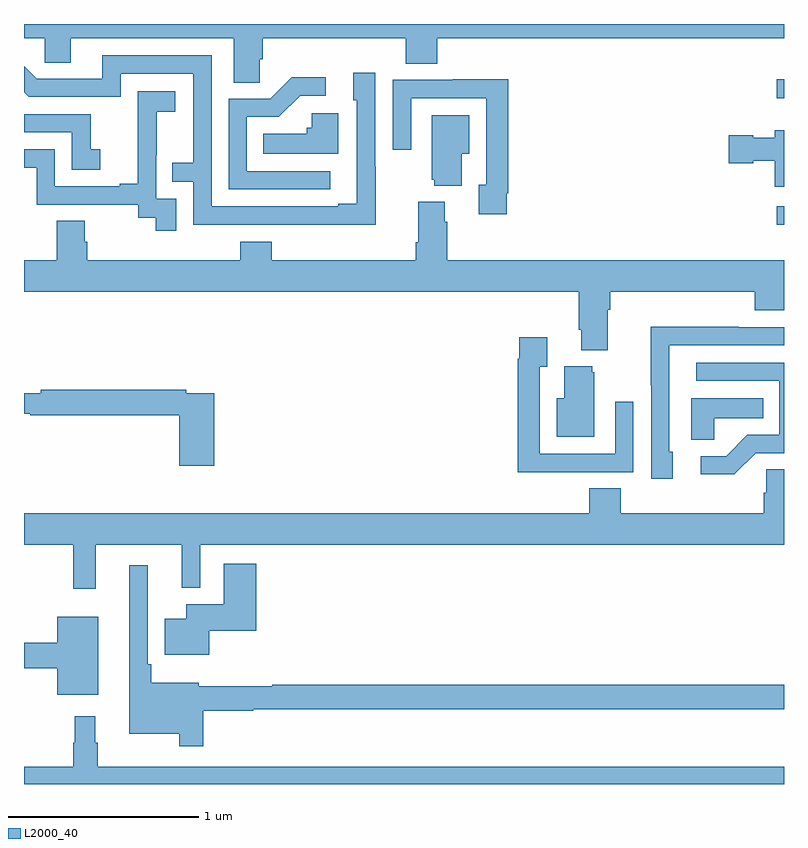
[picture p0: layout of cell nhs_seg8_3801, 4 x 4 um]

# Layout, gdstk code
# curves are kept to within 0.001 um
import gdstk
lib = gdstk.Library(unit=1e-6, precision=1e-09)
def R(c, l, rs):  # rectangles x0, y0, x1, y1
    for r in rs: c.add(gdstk.rectangle(r[:2], r[2:], *l))
def P(c, l, *ps):  # polygons
    for p in ps: c.add(gdstk.Polygon(p, *l))
L2000_40 = (2000, 40)

nhs_seg8_3801 = lib.new_cell('nhs_seg8_3801')
R(nhs_seg8_3801, L2000_40, [(348.963,1124.843,349,1124.94), (348.963,1125.509,349,1125.608)])
P(nhs_seg8_3801, L2000_40, [(346.242,1125.715),(346.256,1125.715),(346.256,1125.824),(347.009,1125.824),(347.009,1125.691),(347.174,1125.691),(347.174,1125.824),(349,1125.824),(349,1125.9),(345,1125.9),(345,1125.824),(345.108,1125.824),(345.108,1125.697),(345.247,1125.697),(345.247,1125.824),(346.103,1125.824),(346.103,1125.592),(346.242,1125.592)],
  [(346.851,1125.149),(346.848,1125.149),(346.848,1125.643),(346.733,1125.643),(346.733,1125.498),(346.752,1125.498),(346.752,1124.953),(346.655,1124.953),(346.655,1124.94),(345.987,1124.94),(345.987,1125.735),(345.413,1125.735),(345.413,1125.612),(345.066,1125.612),(345,1125.678),(345,1125.54),(345.024,1125.516),(345.51,1125.516),(345.51,1125.639),(345.891,1125.639),(345.891,1125.17),(345.781,1125.17),(345.781,1125.069),(345.891,1125.069),(345.891,1124.844),(346.851,1124.843)],
  [(346.612,1125.126),(346.173,1125.126),(346.173,1125.411),(346.342,1125.411),(346.453,1125.522),(346.588,1125.522),(346.588,1125.62),(346.409,1125.62),(346.296,1125.507),(346.077,1125.507),(346.077,1125.03),(346.612,1125.03)],
  [(347.542,1125.01),(347.549,1125.01),(347.549,1125.608),(347.257,1125.608),(347.257,1125.606),(346.941,1125.606),(346.941,1125.237),(347.037,1125.237),(347.037,1125.51),(347.433,1125.51),(347.433,1125.054),(347.393,1125.054),(347.393,1124.898),(347.542,1124.898)],
  [(345.801,1124.979),(345.696,1124.979),(345.696,1125.209),(345.698,1125.209),(345.698,1125.437),(345.796,1125.437),(345.796,1125.547),(345.598,1125.547),(345.598,1125.341),(345.599,1125.341),(345.599,1125.058),(345.503,1125.058),(345.503,1125.045),(345.162,1125.045),(345.162,1125.24),(345,1125.24),(345,1125.144),(345.066,1125.144),(345.066,1124.949),(345.6,1124.949),(345.6,1124.881),(345.693,1124.881),(345.693,1124.811),(345.801,1124.811)],
  [(346.654,1125.43),(346.515,1125.43),(346.515,1125.354),(346.489,1125.354),(346.489,1125.322),(346.258,1125.322),(346.258,1125.218),(346.654,1125.218)],
  [(345.4,1125.241),(345.351,1125.241),(345.351,1125.426),(345,1125.426),(345,1125.33),(345.252,1125.33),(345.252,1125.132),(345.4,1125.132)],
  [(347.305,1125.218),(347.344,1125.218),(347.344,1125.421),(347.147,1125.421),(347.147,1125.081),(347.159,1125.081),(347.159,1125.05),(347.305,1125.05)],
  [(349,1125.34),(348.95,1125.34),(348.95,1125.301),(348.837,1125.301),(348.837,1125.314),(348.708,1125.314),(348.708,1125.167),(348.837,1125.167),(348.837,1125.179),(348.95,1125.179),(348.95,1125.044),(349,1125.044)],
  [(348.073,1124.396),(348.086,1124.396),(348.086,1124.492),(348.845,1124.492),(348.845,1124.393),(349,1124.393),(349,1124.656),(347.228,1124.656),(347.228,1124.858),(347.215,1124.858),(347.215,1124.965),(347.075,1124.965),(347.075,1124.752),(347.063,1124.752),(347.063,1124.656),(346.304,1124.656),(346.304,1124.755),(346.139,1124.755),(346.139,1124.656),(345.332,1124.656),(345.332,1124.754),(345.319,1124.754),(345.319,1124.864),(345.172,1124.864),(345.172,1124.656),(345,1124.656),(345,1124.492),(347.921,1124.492),(347.921,1124.29),(347.933,1124.29),(347.933,1124.183),(348.073,1124.183)],
  [(348.415,1123.65),(348.396,1123.65),(348.396,1124.208),(349,1124.208),(349,1124.304),(348.761,1124.304),(348.761,1124.306),(348.298,1124.306),(348.298,1123.999),(348.3,1123.999),(348.3,1123.506),(348.415,1123.506)],
  [(347.891,1123.542),(348.207,1123.542),(348.207,1123.912),(348.111,1123.912),(348.111,1123.638),(347.715,1123.638),(347.715,1124.095),(347.755,1124.095),(347.755,1124.251),(347.607,1124.251),(347.607,1124.138),(347.599,1124.138),(347.599,1123.541),(347.891,1123.541)],
  [(348.852,1123.641),(349,1123.641),(349,1124.118),(348.537,1124.118),(348.537,1124.022),(348.975,1124.022),(348.975,1123.737),(348.806,1123.737),(348.695,1123.626),(348.561,1123.626),(348.561,1123.529),(348.739,1123.529)],
  [(348.001,1124.067),(347.99,1124.067),(347.99,1124.098),(347.843,1124.098),(347.843,1123.93),(347.804,1123.93),(347.804,1123.727),(348.001,1123.727)],
  [(346.001,1123.956),(345.854,1123.956),(345.854,1123.976),(345.088,1123.976),(345.088,1123.957),(345,1123.957),(345,1123.848),(345.034,1123.848),(345.034,1123.84),(345.818,1123.84),(345.818,1123.575),(346.001,1123.575)],
  [(348.633,1123.826),(348.89,1123.826),(348.89,1123.93),(348.512,1123.93),(348.512,1123.711),(348.633,1123.711)],
  [(345.377,1123.16),(345.83,1123.16),(345.83,1122.932),(345.927,1122.932),(345.927,1123.16),(349,1123.16),(349,1123.556),(348.906,1123.556),(348.906,1123.433),(348.893,1123.433),(348.893,1123.324),(348.14,1123.324),(348.14,1123.457),(347.975,1123.457),(347.975,1123.324),(345,1123.324),(345,1123.16),(345.259,1123.16),(345.259,1122.927),(345.377,1122.927)],
  [(345.976,1122.707),(346.223,1122.707),(346.223,1123.06),(346.052,1123.06),(346.052,1122.847),(345.854,1122.847),(345.854,1122.769),(345.74,1122.769),(345.74,1122.581),(345.976,1122.581)],
  [(345.944,1122.286),(346.206,1122.286),(346.206,1122.294),(349,1122.294),(349,1122.422),(346.306,1122.422),(346.306,1122.415),(345.921,1122.415),(345.921,1122.433),(345.671,1122.433),(345.671,1122.529),(345.651,1122.529),(345.651,1123.051),(345.554,1123.051),(345.554,1122.164),(345.816,1122.164),(345.816,1122.099),(345.944,1122.099)],
  [(345.391,1122.781),(345.176,1122.781),(345.176,1122.644),(345,1122.644),(345,1122.508),(345.176,1122.508),(345.176,1122.371),(345.391,1122.371)],
  [(349,1121.992),(345.388,1121.992),(345.388,1122.116),(345.376,1122.116),(345.376,1122.256),(345.267,1122.256),(345.267,1122.116),(345.259,1122.116),(345.259,1121.992),(345,1121.992),(345,1121.9),(349,1121.9)])

lib.write_gds('nhs_seg8_3801.gds')
